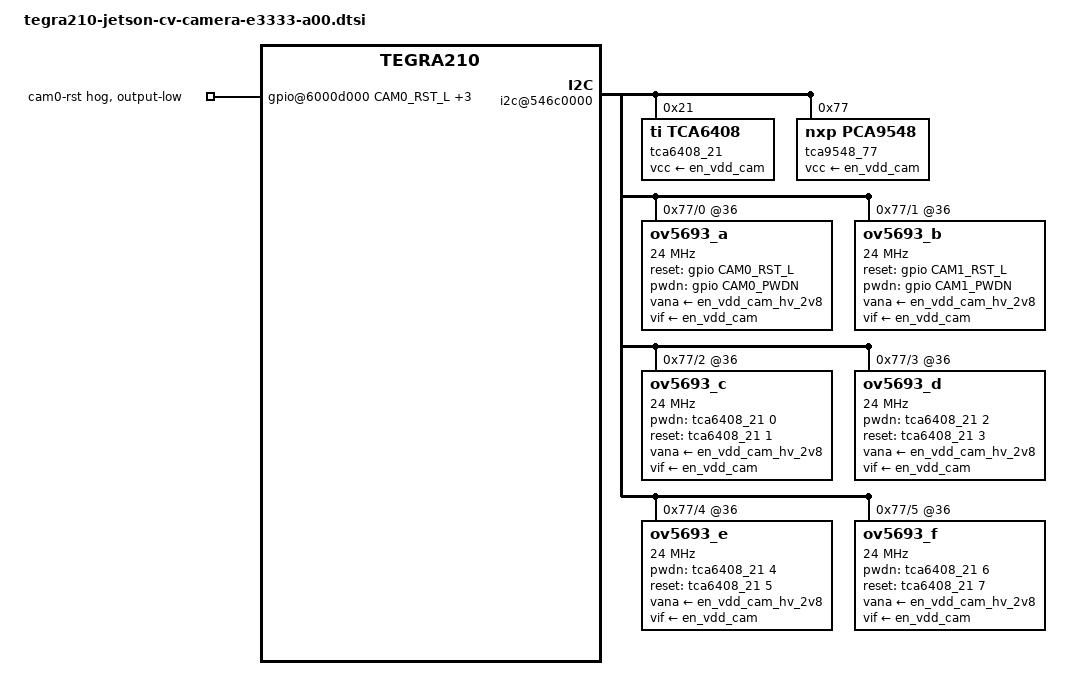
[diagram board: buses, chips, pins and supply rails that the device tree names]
/*
 * Copyright (c) 2015-2017, NVIDIA CORPORATION.  All rights reserved.
 *
 * This program is free software; you can redistribute it and/or modify
 * it under the terms of the GNU General Public License as published by
 * the Free Software Foundation; either version 2 of the License, or
 * (at your option) any later version.
 *
 * This program is distributed in the hope that it will be useful, but WITHOUT
 * ANY WARRANTY; without even the implied warranty of MERCHANTABILITY or
 * FITNESS FOR A PARTICULAR PURPOSE.  See the GNU General Public License for
 * more details.
 *
 * You should have received a copy of the GNU General Public License
 * along with this program.  If not, see <http://www.gnu.org/licenses/>.
 */

#include "tegra210-camera-e3333-a00.dtsi"

#define CAM0_RST_L	TEGRA_GPIO(S, 4)
#define CAM0_PWDN	TEGRA_GPIO(S, 7)
#define CAM1_RST_L	TEGRA_GPIO(S, 5)
#define CAM1_PWDN	TEGRA_GPIO(T, 0)

#define CAMERA_I2C_MUX_BUS(x) (0x1E + x)

/* camera control gpio definitions */

/ {

	gpio@6000d000 {
		camera-control-output-low {
			gpio-hog;
			output-low;
			gpios = <CAM0_RST_L 0 CAM0_PWDN 0
				 CAM1_RST_L 0 CAM1_PWDN 0>;
			label = "cam0-rst", "cam0-pwdn",
				"cam1-rst", "cam1-pwdn";
		};
	};

	host1x {
		i2c@546c0000 {
			tca6408_21: tca6408@21 {
				compatible = "ti,tca6408";
				gpio-controller;
				#gpio-cells = <2>;
				reg = <0x21>;
				vcc-supply = <&en_vdd_cam>;
				tca6408_21_outlow {
					/*
					 * GPIO-0 : PWDN_CAM2
					 * GPIO-1 : RST_CAM2
					 * GPIO-2 : PWDN_CAM3
					 * GPIO-3 : RST_CAM3
					 * GPIO-4 : PWDN_CAM4
					 * GPIO-5 : RST_CAM4
					 * GPIO-6 : PWDN_CAM5
					 * GPIO-7 : RST_CAM5
					 */
					gpio-hog;
					gpios = <0 0 1 0 2 0 3 0 4 0 5 0 6 0 7 0>;
					output-low;
					label = "tca6408_21_outlow_0",
						"tca6408_21_outlow_1",
						"tca6408_21_outlow_2",
						"tca6408_21_outlow_3",
						"tca6408_21_outlow_4",
						"tca6408_21_outlow_5",
						"tca6408_21_outlow_6",
						"tca6408_21_outlow_7";
				};
				tca6408_21_outhigh {
					status = "disabled";
				};
				tca6408_21_input {
					status = "disabled";
				};
			};

			tca9548_77: tca9548@77 {
				compatible = "nxp,pca9548";
				reg = <0x77>;
				#address-cells = <1>;
				#size-cells = <0>;
				vcc-supply = <&en_vdd_cam>;
				skip_mux_detect;
				force_bus_start = <CAMERA_I2C_MUX_BUS(0)>;
				i2c@0 {
					reg = <0>;
					i2c-mux,deselect-on-exit;
					#address-cells = <1>;
					#size-cells = <0>;
					ov5693_a@36 {
						clocks = <&tegra_car TEGRA210_CLK_CLK_OUT_3>;
						clock-names = "clk_out_3";
						clock-frequency = <24000000>;

						mclk = "clk_out_3";
						reset-gpios = <&gpio CAM0_RST_L GPIO_ACTIVE_HIGH>;
						pwdn-gpios = <&gpio CAM0_PWDN GPIO_ACTIVE_HIGH>;
						vana-supply = <&en_vdd_cam_hv_2v8>;
						vif-supply = <&en_vdd_cam>;
					};
				};
				i2c@1 {
					reg = <1>;
					i2c-mux,deselect-on-exit;
					#address-cells = <1>;
					#size-cells = <0>;
					ov5693_b@36 {
						clocks = <&tegra_car TEGRA210_CLK_CLK_OUT_3>;
						clock-names = "clk_out_3";
						clock-frequency = <24000000>;

						mclk = "clk_out_3";
						reset-gpios = <&gpio CAM1_RST_L GPIO_ACTIVE_HIGH>;
						pwdn-gpios = <&gpio CAM1_PWDN GPIO_ACTIVE_HIGH>;
						vana-supply = <&en_vdd_cam_hv_2v8>;
						vif-supply = <&en_vdd_cam>;
					};
				};
				i2c@2 {
					reg = <2>;
					i2c-mux,deselect-on-exit;
					#address-cells = <1>;
					#size-cells = <0>;
					ov5693_c@36 {
						clocks = <&tegra_car TEGRA210_CLK_CLK_OUT_3>;
						clock-names = "clk_out_3";
						clock-frequency = <24000000>;

						mclk = "clk_out_3";
						pwdn-gpios = <&tca6408_21 0 GPIO_ACTIVE_HIGH>;
						reset-gpios = <&tca6408_21 1 GPIO_ACTIVE_HIGH>;
						vana-supply = <&en_vdd_cam_hv_2v8>;
						vif-supply = <&en_vdd_cam>;
					};
				};
				i2c@3 {
					reg = <3>;
					i2c-mux,deselect-on-exit;
					#address-cells = <1>;
					#size-cells = <0>;
					ov5693_d@36 {
						clocks = <&tegra_car TEGRA210_CLK_CLK_OUT_3>;
						clock-names = "clk_out_3";
						clock-frequency = <24000000>;

						mclk = "clk_out_3";
						pwdn-gpios = <&tca6408_21 2 GPIO_ACTIVE_HIGH>;
						reset-gpios = <&tca6408_21 3 GPIO_ACTIVE_HIGH>;
						vana-supply = <&en_vdd_cam_hv_2v8>;
						vif-supply = <&en_vdd_cam>;
					};
				};
				i2c@4 {
					reg = <4>;
					i2c-mux,deselect-on-exit;
					#address-cells = <1>;
					#size-cells = <0>;
					ov5693_e@36 {
						clocks = <&tegra_car TEGRA210_CLK_CLK_OUT_3>;
						clock-names = "clk_out_3";
						clock-frequency = <24000000>;

						mclk = "clk_out_3";
						pwdn-gpios = <&tca6408_21 4 GPIO_ACTIVE_HIGH>;
						reset-gpios = <&tca6408_21 5 GPIO_ACTIVE_HIGH>;
						vana-supply = <&en_vdd_cam_hv_2v8>;
						vif-supply = <&en_vdd_cam>;
					};
				};
				i2c@5 {
					reg = <5>;
					i2c-mux,deselect-on-exit;
					#address-cells = <1>;
					#size-cells = <0>;
					ov5693_f@36 {
						clocks = <&tegra_car TEGRA210_CLK_CLK_OUT_3>;
						clock-names = "clk_out_3";
						clock-frequency = <24000000>;

						mclk = "clk_out_3";
						pwdn-gpios = <&tca6408_21 6 GPIO_ACTIVE_HIGH>;
						reset-gpios = <&tca6408_21 7 GPIO_ACTIVE_HIGH>;
						vana-supply = <&en_vdd_cam_hv_2v8>;
						vif-supply = <&en_vdd_cam>;
					};
				};
			};
		};
	};
};
